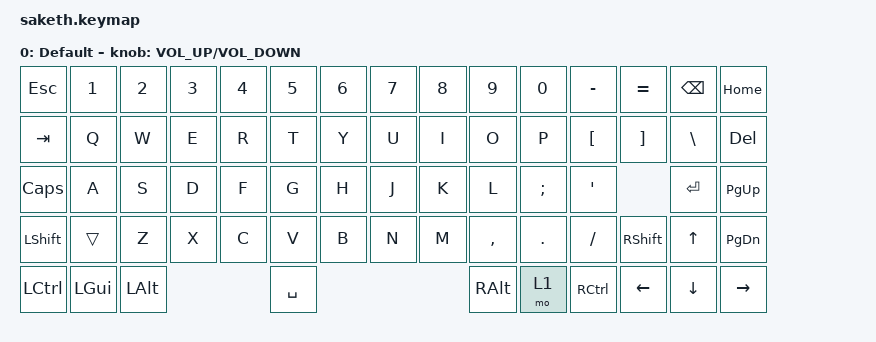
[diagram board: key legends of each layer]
/*
 * Copyright (c) 2020 The ZMK Contributors
 * 
 * SPDX-License-Identifier: MIT
 */

#include <behaviors.dtsi>
#include <dt-bindings/zmk/keys.h>
#include <dt-bindings/zmk/bt.h>

/ {
    sensors: sensors {
        compatible = "zmk,keymap-sensors";
        sensors = <&encoder_1>;
        triggers-per-rotation = <20>;
    };

    keymap {
        compatible = "zmk,keymap";

        default_layer {
            display-name = "Default";

            sensor-bindings = <&inc_dec_kp C_VOLUME_UP C_VOLUME_DOWN>;

            bindings = <
&kp ESC   &kp N1    &kp N2    &kp N3    &kp N4    &kp N5    &kp N6    &kp N7    &kp N8  &kp N9    &kp N0    &kp MINUS &kp EQUAL &kp BSPC &kp HOME
&kp TAB   &kp Q     &kp W     &kp E     &kp R     &kp T     &kp Y     &kp U     &kp I   &kp O     &kp P     &kp LBKT  &kp RBKT  &kp BSLH &kp DEL
&kp CLCK  &kp A     &kp S     &kp D     &kp F     &kp G     &kp H     &kp J     &kp K   &kp L     &kp SEMI  &kp SQT             &kp RET  &kp PG_UP
&kp LSHFT &trans    &kp Z     &kp X     &kp C     &kp V     &kp B     &kp N     &kp M   &kp COMMA &kp DOT   &kp FSLH  &kp RSHFT &kp UP   &kp PG_DN
&kp LCTRL &kp LGUI  &kp LALT                      &kp SPACE                             &kp RALT  &mo  1    &kp RCTRL &kp LEFT  &kp DOWN &kp RIGHT
            >;
        };
    };
};
